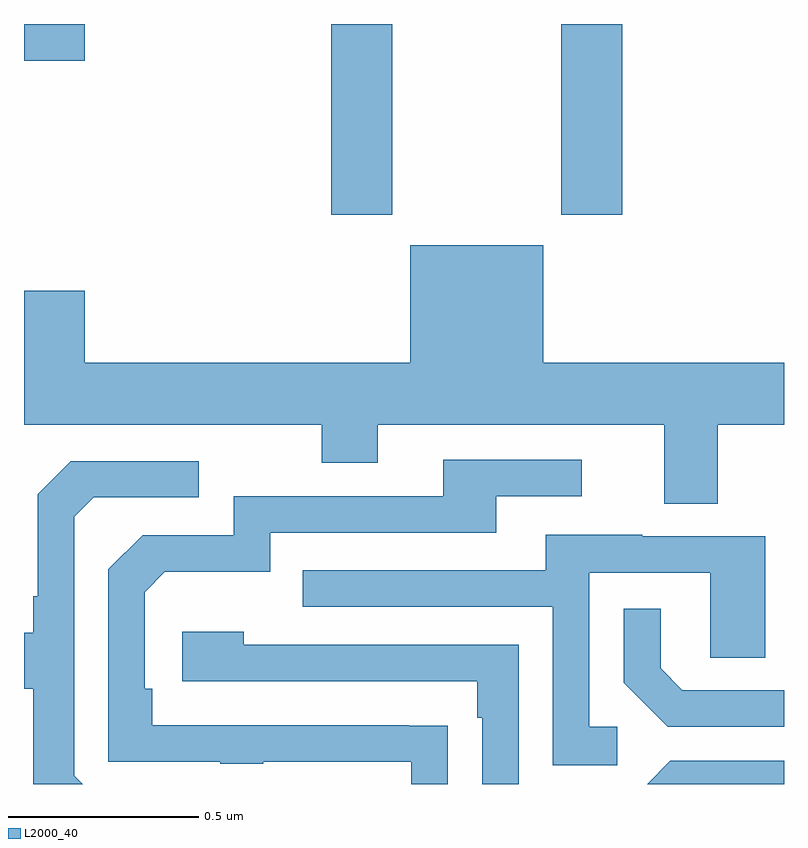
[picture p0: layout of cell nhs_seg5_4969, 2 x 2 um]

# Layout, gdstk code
import gdstk
lib = gdstk.Library(unit=1e-6, precision=1e-09)
def R(c, l, rs):  # rectangles x0, y0, x1, y1
    for r in rs: c.add(gdstk.rectangle(r[:2], r[2:], *l))
def P(c, l, *ps):  # polygons
    for p in ps: c.add(gdstk.Polygon(p, *l))
L2000_40 = (2000, 40)

nhs_seg5_4969 = lib.new_cell('nhs_seg5_4969')
R(nhs_seg5_4969, L2000_40, [(177.809,873.297,177.969,873.799), (178.414,873.297,178.574,873.799), (177,873.702,177.16,873.799)])
P(nhs_seg5_4969, L2000_40, [(178.825,872.744),(179,872.744),(179,872.908),(178.366,872.908),(178.366,873.217),(178.016,873.217),(178.016,872.908),(177.16,872.908),(177.16,873.097),(177,873.097),(177,872.744),(177.784,872.744),(177.784,872.645),(177.931,872.645),(177.931,872.744),(178.685,872.744),(178.685,872.536),(178.825,872.536)],
  [(178.115,871.952),(178.013,871.952),(178.013,871.953),(177.338,871.953),(177.338,872.05),(177.318,872.05),(177.318,872.304),(177.371,872.357),(177.648,872.357),(177.648,872.46),(178.243,872.46),(178.243,872.556),(178.468,872.556),(178.468,872.652),(178.103,872.652),(178.103,872.556),(177.552,872.556),(177.552,872.454),(177.312,872.454),(177.222,872.364),(177.222,871.857),(177.517,871.857),(177.517,871.852),(177.629,871.852),(177.629,871.857),(178.019,871.857),(178.019,871.799),(178.115,871.799)],
  [(177.132,871.821),(177.132,872.502),(177.183,872.553),(177.46,872.553),(177.46,872.649),(177.123,872.649),(177.036,872.562),(177.036,872.293),(177.024,872.293),(177.024,872.197),(177,872.197),(177,872.05),(177.024,872.05),(177.024,871.799),(177.154,871.799)],
  [(178.561,871.95),(178.488,871.95),(178.488,872.355),(178.806,872.355),(178.806,872.131),(178.951,872.131),(178.951,872.451),(178.627,872.451),(178.627,872.455),(178.373,872.455),(178.373,872.361),(177.733,872.361),(177.733,872.265),(178.392,872.265),(178.392,871.849),(178.561,871.849)],
  [(179,872.046),(178.732,872.046),(178.675,872.103),(178.675,872.26),(178.578,872.26),(178.578,872.066),(178.694,871.95),(179,871.95)],
  [(178.302,872.166),(177.578,872.166),(177.578,872.2),(177.417,872.2),(177.417,872.07),(178.193,872.07),(178.193,871.973),(178.206,871.973),(178.206,871.799),(178.302,871.799)],
  [(179,871.86),(178.701,871.86),(178.64,871.799),(179,871.799)])

lib.write_gds('nhs_seg5_4969.gds')
